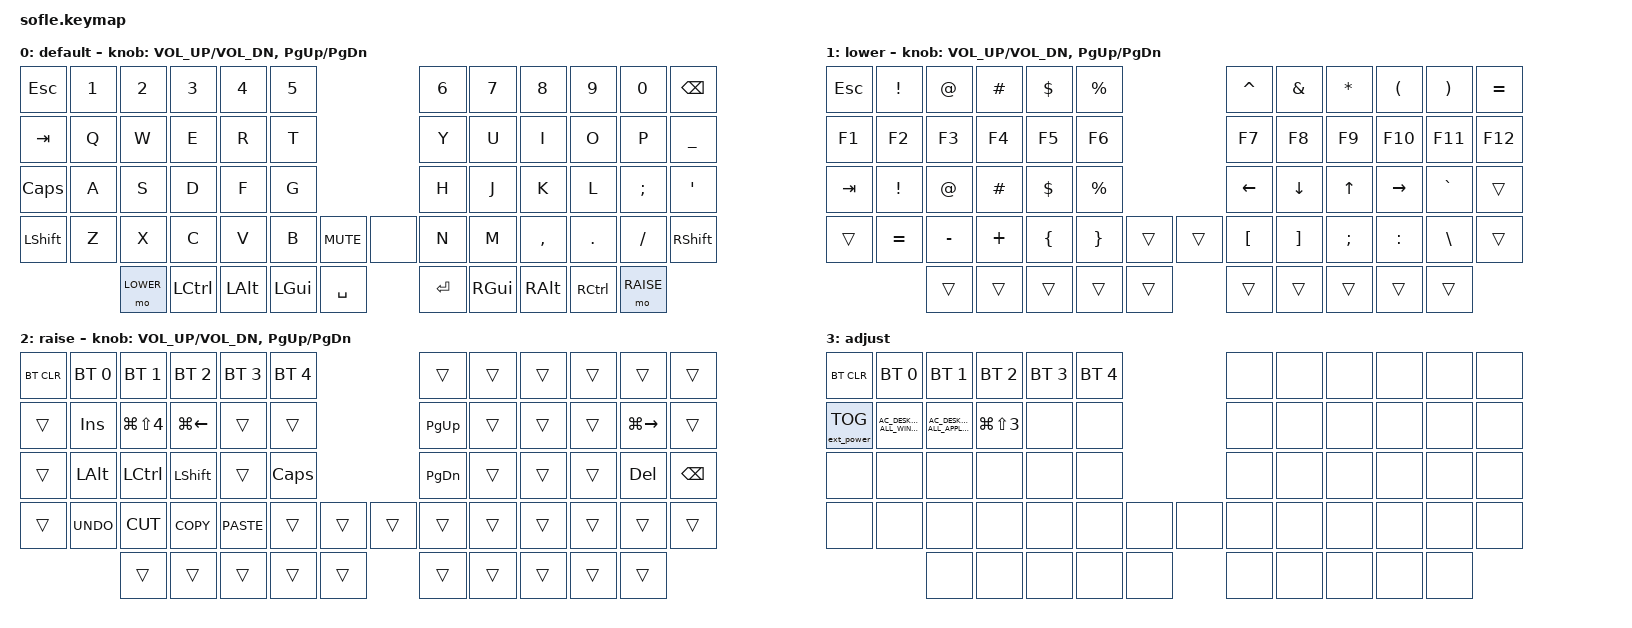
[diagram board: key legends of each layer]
/*
 * Copyright (c) 2020 The ZMK Contributors
 *
 * SPDX-License-Identifier: MIT
 */

#include <behaviors.dtsi>
#include <dt-bindings/zmk/bt.h>
#include <dt-bindings/zmk/ext_power.h>
#include <dt-bindings/zmk/keys.h>

#define BASE 0
#define LOWER 1
#define RAISE 2
#define ADJUST 3

/ {
    // Activate ADJUST layer by pressing raise and lower

    conditional_layers {
        compatible = "zmk,conditional-layers";

        adjust_layer {
            if-layers = <LOWER RAISE>;
            then-layer = <ADJUST>;
        };
    };

    keymap {
        compatible = "zmk,keymap";

        default_layer {
            label = "default";

            // macOS-oriented base layer: Ctrl-Option-Cmd sit next to Space/Enter
            // (mirrors the physical Mac keyboard order), Tab/Capslock restored to
            // standard position, Backspace moved to top-right corner.
            // ------------------------------------------------------------------------------------------------------------
            // |  ESC  |  1  |  2  |  3   |  4   |  5   |                   |  6   |  7    |  8    |  9   |   0   | BKSPC |
            // |  TAB  |  Q  |  W  |  E   |  R   |  T   |                   |  Y   |  U    |  I    |  O   |   P   |   _   |
            // | CAPS  |  A  |  S  |  D   |  F   |  G   |                   |  H   |  J    |  K    |  L   |   ;   |   '   |
            // | SHIFT |  Z  |  X  |  C   |  V   |  B   |  MUTE  |  |        |  N   |  M    |  ,    |  .   |   /   | SHIFT |
            //               | LOWER | CTRL | ALT  | GUI  |  SPACE |  | ENTER | GUI  | ALT   | CTRL  | RAISE|

            bindings = <
&kp ESC         &kp N1  &kp N2  &kp N3  &kp N4  &kp N5                          &kp N6     &kp N7         &kp N8      &kp N9   &kp N0    &kp BACKSPACE
&kp TAB         &kp Q   &kp W   &kp E   &kp R   &kp T                           &kp Y      &kp U          &kp I       &kp O    &kp P     &kp UNDERSCORE
&kp CAPSLOCK    &kp A   &kp S   &kp D   &kp F   &kp G                           &kp H      &kp J          &kp K       &kp L    &kp SEMI  &kp SQT
&kp LEFT_SHIFT  &kp Z   &kp X   &kp C   &kp V   &kp B      &kp C_MUTE  &none    &kp N      &kp M          &kp COMMA   &kp DOT  &kp FSLH  &kp RSHFT
                        &mo LOWER  &kp LCTRL  &kp LALT  &kp LEFT_GUI  &kp SPACE     &kp ENTER  &kp RIGHT_GUI  &kp RALT  &kp RCTRL  &mo RAISE
            >;

            sensor-bindings = <&inc_dec_kp C_VOL_UP C_VOL_DN &inc_dec_kp PG_UP PG_DN>;
        };

        lower_layer {
            label = "lower";

            // Symbols, F-keys, and Vim-style arrows (H/J/K/L = Left/Down/Up/Right).
            // ------------------------------------------------------------------------------------------------------------
            // |  ESC  |  !  |  @  |  #   |  $   |  %   |                   |  ^   |  &    |  *    |  (   |   )   |   =   |
            // |  F1   |  F2 |  F3 |  F4  |  F5  |  F6  |                   |  F7  |  F8   |  F9   |  F10 |  F11  |  F12  |
            // |  TAB  |  !  |  @  |  #   |  $   |  %   |                   | LEFT | DOWN  |  UP   | RIGHT|   `   |       |
            // |       |  =  |  -  |  +   |  {   |  }   |        |  |       |  [   |  ]    |  ;    |  :   |   \   |       |
            //               |     |      |      |      |        |  |       |      |       |       |      |

            bindings = <
&kp ESC  &kp EXCLAMATION  &kp AT_SIGN  &kp HASH     &kp DOLLAR  &kp PERCENT                    &kp CARET  &kp AMPERSAND  &kp ASTERISK     &kp LEFT_PARENTHESIS  &kp RIGHT_PARENTHESIS  &kp EQUAL
&kp F1   &kp F2           &kp F3       &kp F4       &kp F5      &kp F6                         &kp F7     &kp F8         &kp F9           &kp F10               &kp F11                &kp F12
&kp TAB  &kp EXCL         &kp AT       &kp HASH     &kp DLLR    &kp PRCNT                      &kp LEFT   &kp DOWN       &kp UP           &kp RIGHT             &kp GRAVE              &trans
&trans   &kp EQUAL        &kp MINUS    &kp PLUS     &kp LBRC    &kp RBRC     &trans    &trans  &kp LBKT   &kp RBKT       &kp SEMI         &kp COLON             &kp BSLH               &trans
                          &trans       &trans       &trans      &trans       &trans    &trans  &trans     &trans         &trans           &trans
            >;

            sensor-bindings = <&inc_dec_kp C_VOL_UP C_VOL_DN &inc_dec_kp PG_UP PG_DN>;
        };

        raise_layer {
            label = "raise";

            // BT select, macOS screenshot/Home/End, paging, clipboard.
            // ------------------------------------------------------------------------------------------------------------
            // | BTCLR | BT1  | BT2  |  BT3  |  BT4  |  BT5 |                |      |      |       |      |       |       |
            // |       | INS  |ScrSel| Home  |       |      |                | PGUP |      |       |      |  End  |       |
            // |       | ALT  | CTRL | SHIFT |       | CAPS |                | PGDN |      |       |      |  DEL  | BKSPC |
            // |       | UNDO | CUT  | COPY  | PASTE |      |      |  |      |      |      |       |      |       |       |
            //                |      |       |       |      |      |  |      |      |      |       |      |

            bindings = <
&bt BT_CLR  &bt BT_SEL 0  &bt BT_SEL 1  &bt BT_SEL 2  &bt BT_SEL 3  &bt BT_SEL 4                    &trans     &trans   &trans   &trans   &trans        &trans
&trans      &kp INS       &kp LG(LS(N4))  &kp LG(LEFT)  &trans        &trans                        &kp PG_UP  &trans   &trans   &trans   &kp LG(RIGHT)  &trans
&trans      &kp LALT      &kp LCTRL     &kp LSHFT     &trans        &kp CLCK                        &kp PG_DN  &trans   &trans   &trans   &kp DEL       &kp BSPC
&trans      &kp K_UNDO    &kp K_CUT     &kp K_COPY    &kp K_PASTE   &trans        &trans    &trans  &trans     &trans   &trans   &trans   &trans        &trans
                          &trans        &trans        &trans        &trans        &trans    &trans  &trans     &trans   &trans   &trans
            >;

            sensor-bindings = <&inc_dec_kp C_VOL_UP C_VOL_DN &inc_dec_kp PG_UP PG_DN>;
        };

        adjust_layer {
            label = "adjust";

            // BT clear/select, ext power toggle, Mission Control / Launchpad / full-screen screenshot.
            // ----------------------------------------------------------------------------------------------------------------------------
            // | BTCLR  |  BT1    |  BT2    |   BT3   |   BT4   |   BT5   |                  |      |      |       |      |       |       |
            // | EXTPWR | MissCtl | Launchp |ScrFull  |         |         |                  |      |      |       |      |       |       |
            // |        |         |         |         |         |         |                  |      |      |       |      |       |       |
            // |        |         |         |         |         |         |         |        |      |      |       |      |       |       |
            //                    |         |         |         |         |         |        |      |      |       |      |

            bindings = <
&bt BT_CLR         &bt BT_SEL 0                        &bt BT_SEL 1                            &bt BT_SEL 2    &bt BT_SEL 3  &bt BT_SEL 4    &none  &none  &none  &none  &none  &none
&ext_power EP_TOG  &kp C_AC_DESKTOP_SHOW_ALL_WINDOWS   &kp C_AC_DESKTOP_SHOW_ALL_APPLICATIONS  &kp LG(LS(N3))  &none         &none           &none  &none  &none  &none  &none  &none
&none              &none                               &none                                   &none           &none         &none           &none  &none  &none  &none  &none  &none
&none              &none                               &none                                   &none           &none         &none    &none  &none  &none  &none  &none  &none  &none  &none
                                                        &none        &none                      &none           &none         &none    &none  &none  &none  &none  &none
            >;
        };
    };
};
